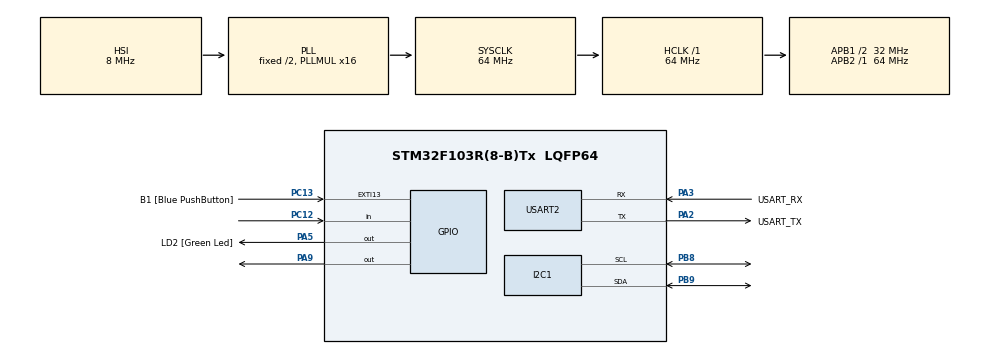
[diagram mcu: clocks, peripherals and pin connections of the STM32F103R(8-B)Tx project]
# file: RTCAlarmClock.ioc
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Mcu.Family=STM32F1
Mcu.Name=STM32F103R(8-B)Tx
Mcu.Package=LQFP64
NVIC.EXTI15_10_IRQn=true\:0\:0\:false\:false\:true\:true\:true
NVIC.PriorityGroup=NVIC_PRIORITYGROUP_4
PA13.GPIO_Label=TMS
PA13.Mode=Serial_Wire
PA13.Signal=SYS_JTMS-SWDIO
PA14.GPIO_Label=TCK
PA14.Mode=Serial_Wire
PA14.Signal=SYS_JTCK-SWCLK
PA2.GPIO_Label=USART_TX
PA2.GPIO_Mode=GPIO_MODE_AF_PP
PA2.GPIO_PuPd=GPIO_NOPULL
PA2.GPIO_Speed=GPIO_SPEED_FREQ_LOW
PA2.Mode=Asynchronous
PA2.Signal=USART2_TX
PA3.GPIO_Label=USART_RX
PA3.GPIO_Mode=GPIO_MODE_AF_PP
PA3.GPIO_PuPd=GPIO_NOPULL
PA3.GPIO_Speed=GPIO_SPEED_FREQ_LOW
PA3.Mode=Asynchronous
PA3.Signal=USART2_RX
PA5.GPIO_Label=LD2 [Green Led]
PA5.GPIO_ModeDefaultOutputPP=GPIO_MODE_OUTPUT_PP
PA5.GPIO_PuPd=GPIO_NOPULL
PA5.GPIO_Speed=GPIO_SPEED_FREQ_LOW
PA5.Signal=GPIO_Output
PA9.Signal=GPIO_Output
PB3.GPIO_Label=SWO
PB3.Signal=SYS_JTDO-TRACESWO
PB8.Mode=I2C
PB8.Signal=I2C1_SCL
PB9.Mode=I2C
PB9.Signal=I2C1_SDA
PC12.Signal=GPIO_Input
PC13-TAMPER-RTC.GPIO_Label=B1 [Blue PushButton]
PC13-TAMPER-RTC.GPIO_PuPd=GPIO_NOPULL
PC13-TAMPER-RTC.Signal=GPXTI13
PC14-OSC32_IN.Mode=LSE-External-Oscillator
PC14-OSC32_IN.Signal=RCC_OSC32_IN
PC15-OSC32_OUT.Mode=LSE-External-Oscillator
PC15-OSC32_OUT.Signal=RCC_OSC32_OUT
PD0-OSC_IN.Mode=HSE-External-Clock-Source
PD0-OSC_IN.Signal=RCC_OSC_IN
PD1-OSC_OUT.Mode=HSE-External-Clock-Source
PD1-OSC_OUT.Signal=RCC_OSC_OUT
ProjectManager.HeapSize=0x200
ProjectManager.StackSize=0x400
ProjectManager.TargetToolchain=STM32CubeIDE
RCC.AHBFreq_Value=64000000
RCC.APB1CLKDivider=RCC_HCLK_DIV2
RCC.APB1Freq_Value=32000000
RCC.APB1TimFreq_Value=64000000
RCC.APB2Freq_Value=64000000
RCC.APB2TimFreq_Value=64000000
RCC.HCLKFreq_Value=64000000
RCC.PLLMUL=RCC_PLL_MUL16
RCC.RTCClockSelection=RCC_RTCCLKSOURCE_LSE
RCC.SYSCLKFreq_VALUE=64000000
RCC.SYSCLKSource=RCC_SYSCLKSOURCE_PLLCLK
RCC.USBFreq_Value=64000000
USART2.VirtualMode=VM_ASYNC
board=NUCLEO-F103RB

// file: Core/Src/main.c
/* USER CODE BEGIN Header */
/**
 ******************************************************************************
 * @file           : main.c
 * @brief          : Main program body
 ******************************************************************************
 * @attention
 *
 * <h2><center>&copy; Copyright (c) 2020 STMicroelectronics.
 * All rights reserved.</center></h2>
 *
 * This software component is licensed by ST under BSD 3-Clause license,
 * the "License"; You may not use this file except in compliance with the
 * License. You may obtain a copy of the License at:
 *                        opensource.org/licenses/BSD-3-Clause
 *
 ******************************************************************************
 */
/* USER CODE END Header */

#include "main.h"

/* USER CODE BEGIN Includes */
#include "lcd1602.h"
#include "ds3231.h"
/* USER CODE END Includes */

I2C_HandleTypeDef hi2c1;

UART_HandleTypeDef huart2;

void SystemClock_Config(void);
static void MX_GPIO_Init(void);
static void MX_USART2_UART_Init(void);
static void MX_I2C1_Init(void);

int main(void) {

	/* MCU Configuration--------------------------------------------------------*/

	/* Reset of all peripherals, Initializes the Flash interface and the Systick. */
	HAL_Init();

	/* Configure the system clock */
	SystemClock_Config();

	/* Initialize all configured peripherals */
	MX_GPIO_Init();
	MX_USART2_UART_Init();
	MX_I2C1_Init();
	/* USER CODE BEGIN 2 */
	alarmOneInit(&hi2c1);
	setTime(&hi2c1);
	uint8_t lcdBuf[29];
	Time time;
	initLCD(&hi2c1);
	uint8_t alarmHour = 12;
	uint8_t alarmMinute = 0;
	uint8_t alarmAmPm = 0; // 1 - pm, 0 - am
	/* USER CODE END 2 */

	/* Infinite loop */
	while (1) {

		/* USER CODE BEGIN 3 */
		// Print time
		getTime(&hi2c1, &time);
		if (time.amPm == 1) {
			sprintf(lcdBuf, "%2d:%02dpm", time.hours, time.minutes);
		} else if (time.amPm == 0) {
			sprintf(lcdBuf, "%2d:%02dam", time.hours, time.minutes);
		}

		writeByte(&hi2c1, CR, 0b10000000);
		lcd_puts(&hi2c1, lcdBuf, strlen(lcdBuf));

		// Print date
		writeByte(&hi2c1, CR, 0b10000000 | 0x08); // set cursor to address 0x08
		sprintf(lcdBuf, "%2d/%d/%-2d", time.month, time.dom, time.year);
		lcd_puts(&hi2c1, lcdBuf, strlen(lcdBuf));

		// Print alarm
		writeByte(&hi2c1, CR, 0b10000000 | 0x44);
		if (alarmAmPm == 1) {
			sprintf(lcdBuf, "A %2d:%02dpm", alarmHour, alarmMinute);
		} else if (alarmAmPm == 0) {
			sprintf(lcdBuf, "A %2d:%02dam", alarmHour, alarmMinute);
		}
		lcd_puts(&hi2c1, lcdBuf, strlen(lcdBuf));

		if (HAL_GPIO_ReadPin(GPIOC, GPIO_PIN_12) == GPIO_PIN_RESET) {
			// Blink GPIOA9 if the alarm was triggered
			for (int i = 0; i < 3; i++) {
				HAL_GPIO_WritePin(GPIOA, GPIO_PIN_9, GPIO_PIN_SET); // PA9
				HAL_Delay(500);
				HAL_GPIO_WritePin(GPIOA, GPIO_PIN_9, GPIO_PIN_RESET); // PA9
				HAL_Delay(500);
			}

			// Clear the A1F flag
			uint8_t statusReg = 0b00000000;
			HAL_I2C_Mem_Write(&hi2c1, DS3231_ADDR, 0x0F, 1, &statusReg, 1,
					1000);
		}

		while (HAL_GPIO_ReadPin(B1_GPIO_Port, B1_Pin) == GPIO_PIN_RESET) {
			writeByte(&hi2c1, CR, 0b10000000 | 0x46);
			if (alarmHour == 12) {
				alarmHour = 1;
			} else {
				alarmHour++;
			}
			sprintf(lcdBuf, "%2d", alarmHour);
			lcd_puts(&hi2c1, lcdBuf, strlen(lcdBuf));
			HAL_Delay(500);
		}

		HAL_Delay(2000);

		while (HAL_GPIO_ReadPin(B1_GPIO_Port, B1_Pin) == GPIO_PIN_RESET) {
			writeByte(&hi2c1, CR, 0b10000000 | 0x49);
			if (alarmMinute == 59) {
				alarmMinute = 0;
			} else {
				alarmMinute++;
			}
			sprintf(lcdBuf, "%02d", alarmMinute);
			lcd_puts(&hi2c1, lcdBuf, strlen(lcdBuf));
			HAL_Delay(500);
		}

		HAL_Delay(2000);

		while (HAL_GPIO_ReadPin(B1_GPIO_Port, B1_Pin) == GPIO_PIN_RESET) {
			writeByte(&hi2c1, CR, 0b10000000 | 0x4B);
			if (alarmAmPm == 0) {
				sprintf(lcdBuf, "am");
				lcd_puts(&hi2c1, lcdBuf, strlen(lcdBuf));
				alarmAmPm = 1;
			} else if (alarmAmPm == 1) {
				sprintf(lcdBuf, "pm");
				lcd_puts(&hi2c1, lcdBuf, strlen(lcdBuf));
				alarmAmPm = 0;
			}
			HAL_Delay(500);
		}

		setAlarmOne(&hi2c1, alarmHour, alarmMinute, alarmAmPm);

//		if(HAL_GPIO_ReadPin())
		HAL_Delay(100);
	}
	/* USER CODE END 3 */
}

void SystemClock_Config(void) {
	RCC_OscInitTypeDef RCC_OscInitStruct = { 0 };
	RCC_ClkInitTypeDef RCC_ClkInitStruct = { 0 };

	/** Initializes the CPU, AHB and APB busses clocks
	 */
	RCC_OscInitStruct.OscillatorType = RCC_OSCILLATORTYPE_HSI;
	RCC_OscInitStruct.HSIState = RCC_HSI_ON;
	RCC_OscInitStruct.HSICalibrationValue = RCC_HSICALIBRATION_DEFAULT;
	RCC_OscInitStruct.PLL.PLLState = RCC_PLL_ON;
	RCC_OscInitStruct.PLL.PLLSource = RCC_PLLSOURCE_HSI_DIV2;
	RCC_OscInitStruct.PLL.PLLMUL = RCC_PLL_MUL16;
	if (HAL_RCC_OscConfig(&RCC_OscInitStruct) != HAL_OK) {
		Error_Handler();
	}
	/** Initializes the CPU, AHB and APB busses clocks
	 */
	RCC_ClkInitStruct.ClockType = RCC_CLOCKTYPE_HCLK | RCC_CLOCKTYPE_SYSCLK
			| RCC_CLOCKTYPE_PCLK1 | RCC_CLOCKTYPE_PCLK2;
	RCC_ClkInitStruct.SYSCLKSource = RCC_SYSCLKSOURCE_PLLCLK;
	RCC_ClkInitStruct.AHBCLKDivider = RCC_SYSCLK_DIV1;
	RCC_ClkInitStruct.APB1CLKDivider = RCC_HCLK_DIV2;
	RCC_ClkInitStruct.APB2CLKDivider = RCC_HCLK_DIV1;

	if (HAL_RCC_ClockConfig(&RCC_ClkInitStruct, FLASH_LATENCY_2) != HAL_OK) {
		Error_Handler();
	}
}

static void MX_I2C1_Init(void) {

	hi2c1.Instance = I2C1;
	hi2c1.Init.ClockSpeed = 100000;
	hi2c1.Init.DutyCycle = I2C_DUTYCYCLE_2;
	hi2c1.Init.OwnAddress1 = 0;
	hi2c1.Init.AddressingMode = I2C_ADDRESSINGMODE_7BIT;
	hi2c1.Init.DualAddressMode = I2C_DUALADDRESS_DISABLE;
	hi2c1.Init.OwnAddress2 = 0;
	hi2c1.Init.GeneralCallMode = I2C_GENERALCALL_DISABLE;
	hi2c1.Init.NoStretchMode = I2C_NOSTRETCH_DISABLE;
	if (HAL_I2C_Init(&hi2c1) != HAL_OK) {
		Error_Handler();
	}

}

static void MX_USART2_UART_Init(void) {

	huart2.Instance = USART2;
	huart2.Init.BaudRate = 115200;
	huart2.Init.WordLength = UART_WORDLENGTH_8B;
	huart2.Init.StopBits = UART_STOPBITS_1;
	huart2.Init.Parity = UART_PARITY_NONE;
	huart2.Init.Mode = UART_MODE_TX_RX;
	huart2.Init.HwFlowCtl = UART_HWCONTROL_NONE;
	huart2.Init.OverSampling = UART_OVERSAMPLING_16;
	if (HAL_UART_Init(&huart2) != HAL_OK) {
		Error_Handler();
	}

}

static void MX_GPIO_Init(void) {
	GPIO_InitTypeDef GPIO_InitStruct = { 0 };

	/* GPIO Ports Clock Enable */
	__HAL_RCC_GPIOC_CLK_ENABLE();
	__HAL_RCC_GPIOD_CLK_ENABLE();
	__HAL_RCC_GPIOA_CLK_ENABLE();
	__HAL_RCC_GPIOB_CLK_ENABLE();

	/*Configure GPIO pin Output Level */
	HAL_GPIO_WritePin(GPIOA, LD2_Pin | GPIO_PIN_9, GPIO_PIN_RESET);

	/*Configure GPIO pin : B1_Pin */
	GPIO_InitStruct.Pin = B1_Pin;
	GPIO_InitStruct.Mode = GPIO_MODE_IT_RISING;
	GPIO_InitStruct.Pull = GPIO_NOPULL;
	HAL_GPIO_Init(B1_GPIO_Port, &GPIO_InitStruct);

	/*Configure GPIO pins : LD2_Pin PA9 */
	GPIO_InitStruct.Pin = LD2_Pin | GPIO_PIN_9;
	GPIO_InitStruct.Mode = GPIO_MODE_OUTPUT_PP;
	GPIO_InitStruct.Pull = GPIO_NOPULL;
	GPIO_InitStruct.Speed = GPIO_SPEED_FREQ_LOW;
	HAL_GPIO_Init(GPIOA, &GPIO_InitStruct);

	/*Configure GPIO pin : PC12 */
	GPIO_InitStruct.Pin = GPIO_PIN_12;
	GPIO_InitStruct.Mode = GPIO_MODE_INPUT;
	GPIO_InitStruct.Pull = GPIO_NOPULL;
	HAL_GPIO_Init(GPIOC, &GPIO_InitStruct);

	/* EXTI interrupt init*/
	HAL_NVIC_SetPriority(EXTI15_10_IRQn, 0, 0);
	HAL_NVIC_EnableIRQ(EXTI15_10_IRQn);

}

void Error_Handler(void) {
}

/************************ (C) COPYRIGHT STMicroelectronics *****END OF FILE****/
